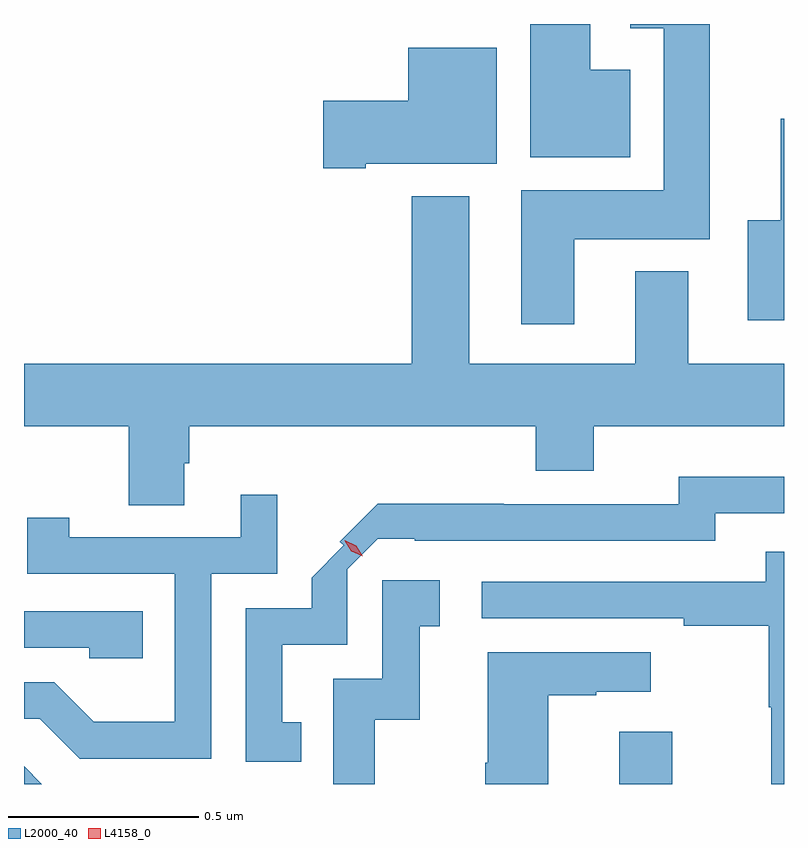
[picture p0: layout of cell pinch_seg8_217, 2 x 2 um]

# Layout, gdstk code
import gdstk
lib = gdstk.Library(unit=1e-6, precision=1e-09)
def R(c, l, rs):  # rectangles x0, y0, x1, y1
    for r in rs: c.add(gdstk.rectangle(r[:2], r[2:], *l))
def P(c, l, *ps):  # polygons
    for p in ps: c.add(gdstk.Polygon(p, *l))
L2000_40 = (2000, 40)
L4158_0 = (4158, 0)

pinch_seg8_217 = lib.new_cell('pinch_seg8_217')
R(pinch_seg8_217, L2000_40, [(671.183,1099.574,671.323,1099.711)])
P(pinch_seg8_217, L2000_40, [(671.212,1101.454),(671.107,1101.454),(671.107,1101.574),(670.949,1101.574),(670.949,1101.224),(671.212,1101.224)],
  [(671.065,1101.008),(671.422,1101.008),(671.422,1101.574),(671.213,1101.574),(671.213,1101.563),(671.3,1101.563),(671.3,1101.136),(670.925,1101.136),(670.925,1100.784),(671.065,1100.784)],
  [(670.516,1101.206),(670.861,1101.206),(670.861,1101.511),(670.628,1101.511),(670.628,1101.372),(670.404,1101.372),(670.404,1101.194),(670.516,1101.194)],
  [(671.617,1101.325),(671.609,1101.325),(671.609,1101.058),(671.522,1101.058),(671.522,1100.795),(671.617,1100.795)],
  [(670.039,1100.418),(670.052,1100.418),(670.052,1100.516),(670.964,1100.516),(670.964,1100.399),(671.116,1100.399),(671.116,1100.516),(671.617,1100.516),(671.617,1100.68),(671.365,1100.68),(671.365,1100.923),(671.225,1100.923),(671.225,1100.68),(670.789,1100.68),(670.789,1101.121),(670.637,1101.121),(670.637,1100.68),(669.617,1100.68),(669.617,1100.516),(669.892,1100.516),(669.892,1100.308),(670.039,1100.308)],
  [(670.346,1099.737),(670.297,1099.737),(670.297,1099.941),(670.467,1099.941),(670.467,1100.139),(670.548,1100.22),(670.645,1100.22),(670.645,1100.214),(671.436,1100.214),(671.436,1100.286),(671.617,1100.286),(671.617,1100.383),(671.34,1100.383),(671.34,1100.31),(670.88,1100.31),(670.88,1100.312),(670.548,1100.312),(670.448,1100.212),(670.459,1100.202),(670.374,1100.117),(670.374,1100.037),(670.2,1100.037),(670.2,1099.632),(670.346,1099.632)],
  [(670.11,1100.127),(670.284,1100.127),(670.284,1100.335),(670.187,1100.335),(670.187,1100.223),(669.736,1100.223),(669.736,1100.275),(669.625,1100.275),(669.625,1100.127),(670.014,1100.127),(670.014,1099.738),(669.8,1099.738),(669.696,1099.842),(669.617,1099.842),(669.617,1099.746),(669.659,1099.746),(669.764,1099.641),(670.11,1099.641)],
  [(671.617,1100.185),(671.569,1100.185),(671.569,1100.106),(670.821,1100.106),(670.821,1100.01),(671.353,1100.01),(671.353,1099.99),(671.577,1099.99),(671.577,1099.776),(671.584,1099.776),(671.584,1099.574),(671.617,1099.574)],
  [(670.54,1099.743),(670.658,1099.743),(670.658,1099.989),(670.711,1099.989),(670.711,1100.11),(670.56,1100.11),(670.56,1099.851),(670.431,1099.851),(670.431,1099.574),(670.54,1099.574)],
  [(669.929,1100.028),(669.617,1100.028),(669.617,1099.932),(669.789,1099.932),(669.789,1099.905),(669.929,1099.905)],
  [(670.996,1099.807),(671.123,1099.807),(671.123,1099.817),(671.266,1099.817),(671.266,1099.921),(670.838,1099.921),(670.838,1099.63),(670.831,1099.63),(670.831,1099.574),(670.996,1099.574)],
  [(669.617,1099.621),(669.617,1099.574),(669.664,1099.574)])
P(pinch_seg8_217, L4158_0, [(670.508,1100.173),(670.478,1100.186),(670.461,1100.214),(670.461,1100.215),(670.461,1100.215),(670.491,1100.201),(670.508,1100.173),(670.508,1100.173)])

lib.write_gds('pinch_seg8_217.gds')
